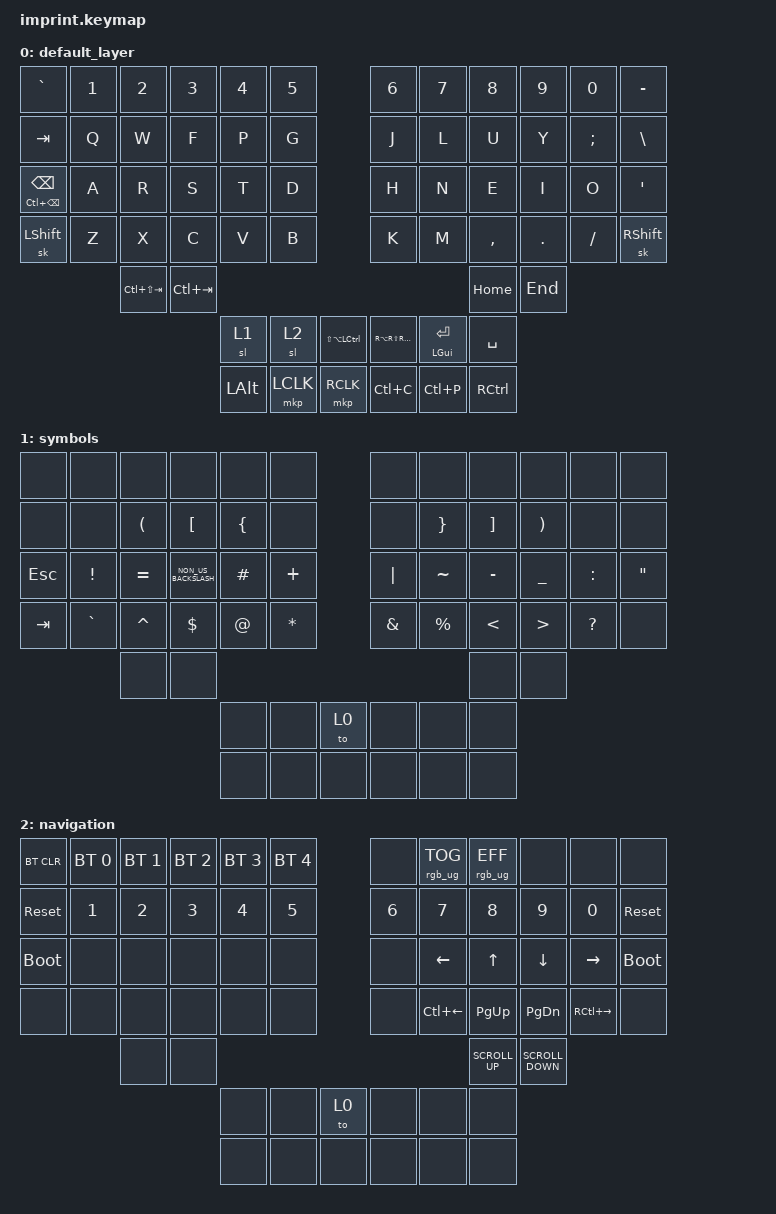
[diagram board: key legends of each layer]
#include <input/processors.dtsi>
#include <dt-bindings/zmk/input_transform.h>
#include <behaviors.dtsi>
#include <dt-bindings/zmk/bt.h>
#include <dt-bindings/zmk/keys.h>
#include <dt-bindings/zmk/pointing.h>
#include <dt-bindings/zmk/rgb.h>

/ {
    chosen { zmk,matrix-transform = &imprint_number_row; };

    keymap {
        compatible = "zmk,keymap";

        default_layer {
            bindings = <
&kp GRAVE                    &kp N1  &kp N2           &kp N3       &kp N4        &kp N5                          &kp N6                 &kp N7          &kp N8     &kp N9   &kp N0         &kp MINUS
&kp TAB                      &kp Q   &kp W            &kp F        &kp P         &kp G                           &kp J                  &kp L           &kp U      &kp Y    &kp SEMICOLON  &kp BSLH
&mt LC(BACKSPACE) BACKSPACE  &kp A   &kp R            &kp S        &kp T         &kp D                           &kp H                  &kp N           &kp E      &kp I    &kp O          &kp SQT
&sk LSHFT                    &kp Z   &kp X            &kp C        &kp V         &kp B                           &kp K                  &kp M           &kp COMMA  &kp DOT  &kp FSLH       &sk RSHFT
                                     &kp LC(LS(TAB))  &kp LC(TAB)                                                                                       &kp HOME   &kp END
                                                                   &sl 1         &sl 2      &kp LS(LA(LCTRL))    &kp RA(RS(RG(RCTRL)))  &mt LGUI ENTER  &kp SPACE
                                                                   &kp LEFT_ALT  &mkp LCLK  &mkp RCLK            &kp LC(C)              &kp LC(P)       &kp RCTRL
            >;
        };

        symbols {
            bindings = <
&none    &none            &none                 &none                 &none           &none                  &none          &none            &none              &none                  &none         &none
&none    &none            &kp LEFT_PARENTHESIS  &kp LEFT_BRACKET      &kp LEFT_BRACE  &none                  &none          &kp RIGHT_BRACE  &kp RIGHT_BRACKET  &kp RIGHT_PARENTHESIS  &none         &none
&kp ESC  &kp EXCLAMATION  &kp EQUAL             &kp NON_US_BACKSLASH  &kp HASH        &kp PLUS               &kp PIPE       &kp TILDE        &kp MINUS          &kp UNDERSCORE         &kp COLON     &kp DOUBLE_QUOTES
&kp TAB  &kp GRAVE        &kp CARET             &kp DOLLAR            &kp AT_SIGN     &kp ASTERISK           &kp AMPERSAND  &kp PERCENT      &kp LESS_THAN      &kp GREATER_THAN       &kp QUESTION  &none
                          &none                 &none                                                                                        &none              &none
                                                                      &none           &none         &to 0    &none          &none            &none
                                                                      &none           &none         &none    &none          &none            &none
            >;
        };

        navigation {
            bindings = <
&bt BT_CLR   &bt BT_SEL 0  &bt BT_SEL 1  &bt BT_SEL 2  &bt BT_SEL 3  &bt BT_SEL 4           &none         &rgb_ug RGB_TOG  &rgb_ug RGB_EFF  &none              &none          &none
&sys_reset   &kp NUMBER_1  &kp NUMBER_2  &kp NUMBER_3  &kp NUMBER_4  &kp N5                 &kp NUMBER_6  &kp N7           &kp N8           &kp N9             &kp N0         &sys_reset
&bootloader  &none         &none         &none         &none         &none                  &none         &kp LEFT         &kp UP_ARROW     &kp DOWN_ARROW     &kp RIGHT      &bootloader
&none        &none         &none         &none         &none         &none                  &none         &kp LC(LEFT)     &kp PAGE_UP      &kp PAGE_DOWN      &kp RC(RIGHT)  &none
                           &none         &none                                                                             &kp K_SCROLL_UP  &kp K_SCROLL_DOWN
                                                       &none         &none         &to 0    &none         &none            &none
                                                       &none         &none         &none    &none         &none            &none
            >;
        };
    };
};

// right hand trackball configuration
// &trackball_peripheral_listener {
//    input-processors =
//     activate layer 3 within 500ms of the trackball moving
//     <&zip_temp_layer 3 500>;
// };
//left hand trackball configuration

&trackball_central_listener {
    input-processors =
        // multiply sensitivity by 1, divide by 3 (make it slower for scrolling),,,,,
        <&zip_xy_scaler 1 3>,
        // make this trackball output scrolling events by default instead of cursor movement,,,,,
        <&zip_xy_to_scroll_mapper>,
        // invert vertical scrolling so that the view moves in the same direction as the top of the trackball.,,,,,
        <&zip_scroll_transform INPUT_TRANSFORM_Y_INVERT>;
};
